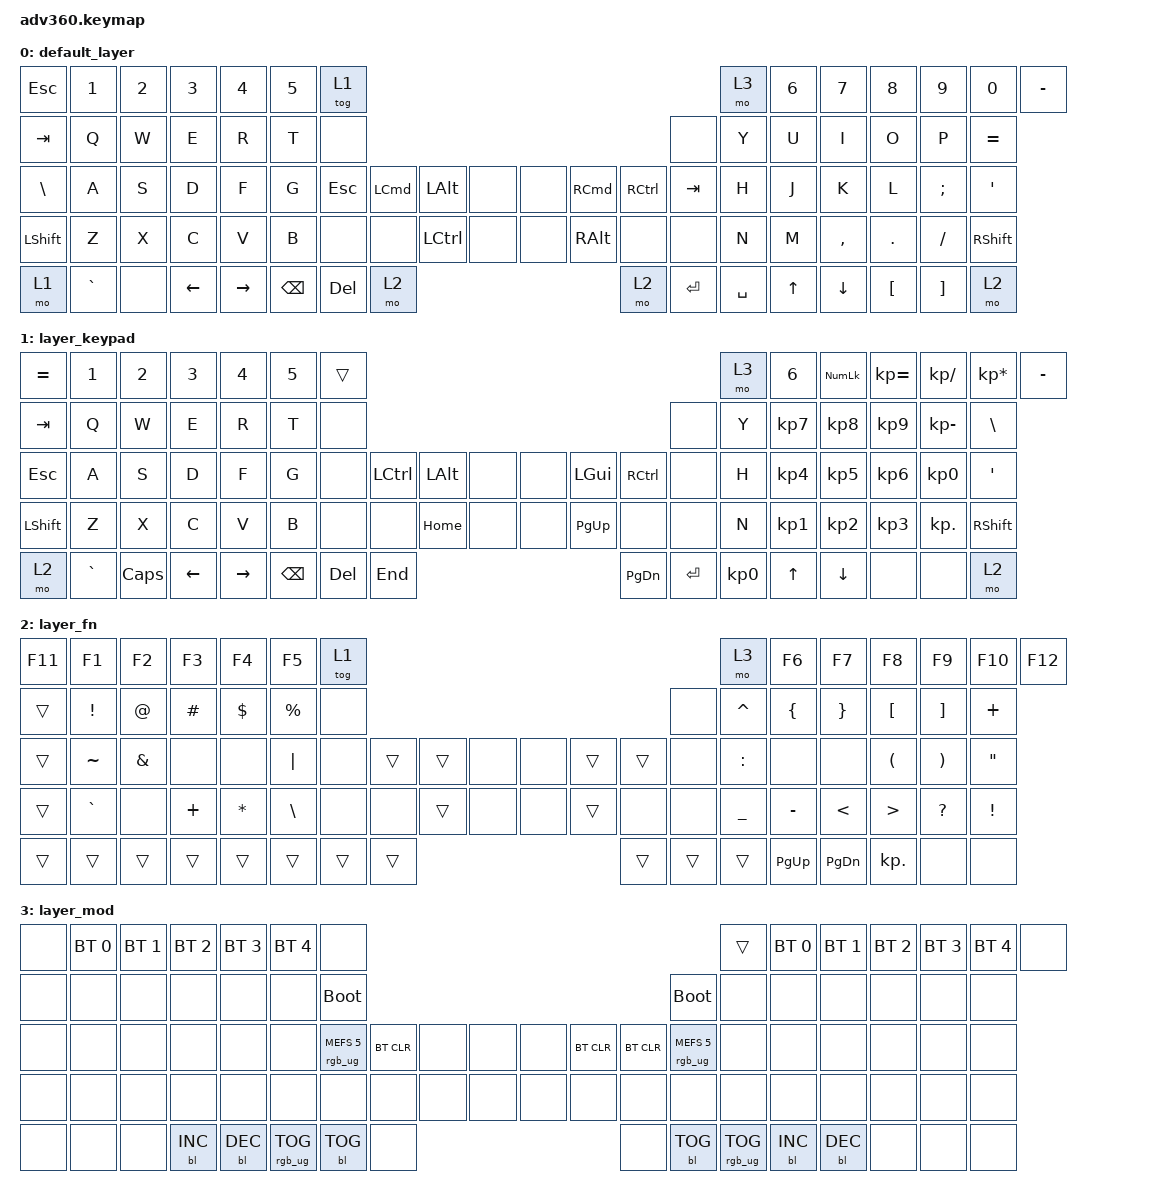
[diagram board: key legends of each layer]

/*
 * Copyright (c) 2020 The ZMK Contributors
 *
 * SPDX-License-Identifier: MIT
 */


/* THIS FILE WAS GENERATED!
 *
 * This file was generated automatically. You may or may not want to
 * edit it directly.
 */

#include <behaviors.dtsi>
#include <dt-bindings/zmk/keys.h>
#include <dt-bindings/zmk/bt.h>
#include <dt-bindings/zmk/rgb.h>
#include <dt-bindings/zmk/backlight.h>

/ {
  behaviors {
    #include "macros.dtsi"

    hm: homerow_mods {
        compatible = "zmk,behavior-hold-tap";
        label = "HOMEROW_MODS";
        #binding-cells = <2>;
        tapping-term-ms = <200>;
        quick_tap_ms = <175>;
        flavor = "tap-preferred";
        bindings = <&kp>, <&kp>;
    };
  };

    keymap {
        compatible = "zmk,keymap";


        default_layer {
            bindings = <
   &kp ESC     &kp N1  &kp N2    &kp N3     &kp N4  &kp N5              &tog 1                                                                                        &mo 3  &kp N6  &kp N7     &kp N8    &kp N9    &kp N0  &kp MINUS
   &kp TAB      &kp Q   &kp W     &kp E      &kp R   &kp T               &none                                                                                        &none   &kp Y   &kp U      &kp I     &kp O     &kp P  &kp EQUAL
  &kp BSLH      &kp A   &kp S     &kp D      &kp F   &kp G             &kp ESC  &kp LEFT_COMMAND          &kp LALT   &none   &none  &kp RIGHT_COMMAND  &kp RCTRL    &kp TAB   &kp H   &kp J      &kp K     &kp L  &kp SEMI    &kp SQT
 &kp LSHFT      &kp Z   &kp X     &kp C      &kp V   &kp B               &none             &none  &kp LEFT_CONTROL   &none   &none      &kp RIGHT_ALT      &none      &none   &kp N   &kp M  &kp COMMA   &kp DOT  &kp FSLH  &kp RSHFT
     &mo 1  &kp GRAVE   &none  &kp LEFT  &kp RIGHT                    &kp BSPC           &kp DEL             &mo 2                              &mo 2  &kp ENTER  &kp SPACE          &kp UP   &kp DOWN  &kp LBKT  &kp RBKT      &mo 2
            >;
        };

        layer_keypad {
            bindings = <
 &kp EQUAL     &kp N1    &kp N2    &kp N3     &kp N4  &kp N5              &trans                                                                 &mo 3  &kp N6  &kp KP_NUM  &kp KP_EQUAL  &kp KP_DIVIDE  &kp KP_MULTIPLY  &kp MINUS
   &kp TAB      &kp Q     &kp W     &kp E      &kp R   &kp T               &none                                                                 &none   &kp Y   &kp KP_N7     &kp KP_N8      &kp KP_N9     &kp KP_MINUS   &kp BSLH
   &kp ESC      &kp A     &kp S     &kp D      &kp F   &kp G               &none  &kp LCTRL  &kp LALT   &none   &none   &kp LGUI  &kp RCTRL      &none   &kp H   &kp KP_N4     &kp KP_N5      &kp KP_N6  &kp KP_NUMBER_0    &kp SQT
 &kp LSHFT      &kp Z     &kp X     &kp C      &kp V   &kp B               &none      &none  &kp HOME   &none   &none  &kp PG_UP      &none      &none   &kp N   &kp KP_N1     &kp KP_N2      &kp KP_N3       &kp KP_DOT  &kp RSHFT
     &mo 2  &kp GRAVE  &kp CAPS  &kp LEFT  &kp RIGHT                    &kp BSPC    &kp DEL   &kp END                  &kp PG_DN  &kp ENTER  &kp KP_N0              &kp UP      &kp DOWN          &none            &none      &mo 2
            >;
        };

        layer_fn {
            bindings = <
 &kp F11           &kp F1         &kp F2    &kp F3      &kp F4         &kp F5            &tog 1                                                   &mo 3          &kp F6          &kp F7           &kp F8                &kp F9                &kp F10            &kp F12
  &trans  &kp EXCLAMATION    &kp AT_SIGN  &kp HASH  &kp DOLLAR    &kp PERCENT             &none                                                   &none       &kp CARET  &kp LEFT_BRACE  &kp RIGHT_BRACE      &kp LEFT_BRACKET      &kp RIGHT_BRACKET           &kp PLUS
  &trans        &kp TILDE  &kp AMPERSAND     &none       &none       &kp PIPE             &none  &trans  &trans   &none   &none  &trans  &trans   &none       &kp COLON           &none            &none  &kp LEFT_PARENTHESIS  &kp RIGHT_PARENTHESIS  &kp DOUBLE_QUOTES
  &trans        &kp GRAVE          &none  &kp PLUS   &kp ASTRK  &kp BACKSLASH             &none   &none  &trans   &none   &none  &trans   &none   &none  &kp UNDERSCORE       &kp MINUS    &kp LESS_THAN      &kp GREATER_THAN           &kp QUESTION    &kp EXCLAMATION
  &trans           &trans         &trans    &trans      &trans                           &trans  &trans  &trans                  &trans  &trans  &trans                     &kp PAGE_UP    &kp PAGE_DOWN            &kp KP_DOT                  &none              &none
            >;
        };

        layer_mod {
            bindings = <
  &none  &bt BT_SEL 0  &bt BT_SEL 1  &bt BT_SEL 2  &bt BT_SEL 3  &bt BT_SEL 4                             &none                                                                              &trans  &bt BT_SEL 0  &bt BT_SEL 1  &bt BT_SEL 2  &bt BT_SEL 3  &bt BT_SEL 4   &none
  &none         &none         &none         &none         &none         &none                       &bootloader                                                                         &bootloader         &none         &none         &none         &none         &none   &none
  &none         &none         &none         &none         &none         &none            &rgb_ug RGB_MEFS_CMD 5  &bt BT_CLR   &none   &none   &none  &bt BT_CLR  &bt BT_CLR  &rgb_ug RGB_MEFS_CMD 5         &none         &none         &none         &none         &none   &none
  &none         &none         &none         &none         &none         &none                             &none       &none   &none   &none   &none       &none       &none                   &none         &none         &none         &none         &none         &none   &none
  &none         &none         &none    &bl BL_INC    &bl BL_DEC                                 &rgb_ug RGB_TOG  &bl BL_TOG   &none                       &none  &bl BL_TOG         &rgb_ug RGB_TOG                  &bl BL_INC    &bl BL_DEC         &none         &none   &none
            >;
        };

    };
};
